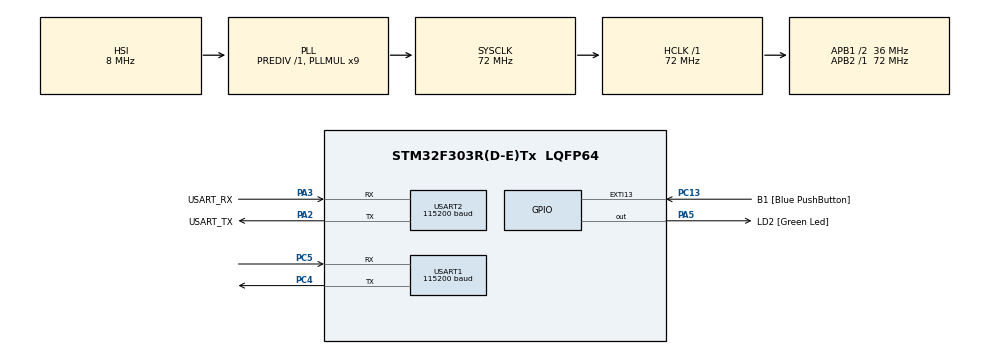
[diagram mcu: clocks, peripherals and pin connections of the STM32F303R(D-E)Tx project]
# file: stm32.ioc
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Mcu.Family=STM32F3
Mcu.Name=STM32F303R(D-E)Tx
Mcu.Package=LQFP64
NVIC.PriorityGroup=NVIC_PRIORITYGROUP_0
PA13.GPIO_Label=TMS
PA13.Mode=Serial_Wire
PA13.Signal=SYS_JTMS-SWDIO
PA14.GPIO_Label=TCK
PA14.Mode=Serial_Wire
PA14.Signal=SYS_JTCK-SWCLK
PA2.GPIO_Label=USART_TX
PA2.GPIO_Mode=GPIO_MODE_AF_PP
PA2.GPIO_PuPd=GPIO_NOPULL
PA2.GPIO_Speed=GPIO_SPEED_FREQ_LOW
PA2.Mode=Asynchronous
PA2.Signal=USART2_TX
PA3.GPIO_Label=USART_RX
PA3.GPIO_Mode=GPIO_MODE_AF_PP
PA3.GPIO_PuPd=GPIO_NOPULL
PA3.GPIO_Speed=GPIO_SPEED_FREQ_LOW
PA3.Mode=Asynchronous
PA3.Signal=USART2_RX
PA5.GPIO_Label=LD2 [Green Led]
PA5.GPIO_Mode=GPIO_MODE_OUTPUT_PP
PA5.GPIO_PuPd=GPIO_NOPULL
PA5.GPIO_Speed=GPIO_SPEED_FREQ_LOW
PA5.Signal=GPIO_Output
PB3.GPIO_Label=SWO
PB3.Signal=SYS_JTDO-TRACESWO
PC13.GPIO_Label=B1 [Blue PushButton]
PC13.GPIO_ModeDefaultEXTI=GPIO_MODE_IT_FALLING
PC13.Signal=GPXTI13
PC14-OSC32_IN.Mode=LSE-External-Oscillator
PC14-OSC32_IN.Signal=RCC_OSC32_IN
PC15-OSC32_OUT.Mode=LSE-External-Oscillator
PC15-OSC32_OUT.Signal=RCC_OSC32_OUT
PC4.Mode=Asynchronous
PC4.Signal=USART1_TX
PC5.Mode=Asynchronous
PC5.Signal=USART1_RX
PF0-OSC_IN.Mode=HSE-External-Clock-Source
PF0-OSC_IN.Signal=RCC_OSC_IN
PF1-OSC_OUT.Signal=RCC_OSC_OUT
ProjectManager.HeapSize=0x200
ProjectManager.StackSize=0x400
ProjectManager.TargetToolchain=EWARM
RCC.AHBFreq_Value=72000000
RCC.APB1CLKDivider=RCC_HCLK_DIV2
RCC.APB1Freq_Value=36000000
RCC.APB1TimFreq_Value=72000000
RCC.APB2Freq_Value=72000000
RCC.APB2TimFreq_Value=72000000
RCC.CortexFreq_Value=72000000
RCC.HCLKFreq_Value=72000000
RCC.HSE_VALUE=8000000
RCC.HSI_VALUE=8000000
RCC.PLLM=8
RCC.PLLMUL=RCC_PLL_MUL9
RCC.PLLN=336
RCC.PLLP=RCC_PLLP_DIV4
RCC.PLLQ=7
RCC.RCC_PLLsource_Clock_Source_FROM_HSE=RCC_HSE_PREDIV_DIV2
RCC.SYSCLKFreq_VALUE=72000000
RCC.SYSCLKSourceVirtual=RCC_SYSCLKSOURCE_PLLCLK
RCC.USBFreq_Value=72000000
USART1.BaudRate=115200
USART1.VirtualMode-Asynchronous=VM_ASYNC
USART2.BaudRate=115200
USART2.VirtualMode-Asynchronous=VM_ASYNC
board=NUCLEO-F303RE

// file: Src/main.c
/**
  ******************************************************************************
  * @file           : main.c
  * @brief          : Main program body
  ******************************************************************************
  ** This notice applies to any and all portions of this file
  * that are not between comment pairs USER CODE BEGIN and
  * USER CODE END. Other portions of this file, whether
  * inserted by the user or by software development tools
  * are owned by their respective copyright owners.
  *
  * COPYRIGHT(c) 2018 STMicroelectronics
  *
  * Redistribution and use in source and binary forms, with or without modification,
  * are permitted provided that the following conditions are met:
  *   1. Redistributions of source code must retain the above copyright notice,
  *      this list of conditions and the following disclaimer.
  *   2. Redistributions in binary form must reproduce the above copyright notice,
  *      this list of conditions and the following disclaimer in the documentation
  *      and/or other materials provided with the distribution.
  *   3. Neither the name of STMicroelectronics nor the names of its contributors
  *      may be used to endorse or promote products derived from this software
  *      without specific prior written permission.
  *
  * THIS SOFTWARE IS PROVIDED BY THE COPYRIGHT HOLDERS AND CONTRIBUTORS "AS IS"
  * AND ANY EXPRESS OR IMPLIED WARRANTIES, INCLUDING, BUT NOT LIMITED TO, THE
  * IMPLIED WARRANTIES OF MERCHANTABILITY AND FITNESS FOR A PARTICULAR PURPOSE ARE
  * DISCLAIMED. IN NO EVENT SHALL THE COPYRIGHT HOLDER OR CONTRIBUTORS BE LIABLE
  * FOR ANY DIRECT, INDIRECT, INCIDENTAL, SPECIAL, EXEMPLARY, OR CONSEQUENTIAL
  * DAMAGES (INCLUDING, BUT NOT LIMITED TO, PROCUREMENT OF SUBSTITUTE GOODS OR
  * SERVICES; LOSS OF USE, DATA, OR PROFITS; OR BUSINESS INTERRUPTION) HOWEVER
  * CAUSED AND ON ANY THEORY OF LIABILITY, WHETHER IN CONTRACT, STRICT LIABILITY,
  * OR TORT (INCLUDING NEGLIGENCE OR OTHERWISE) ARISING IN ANY WAY OUT OF THE USE
  * OF THIS SOFTWARE, EVEN IF ADVISED OF THE POSSIBILITY OF SUCH DAMAGE.
  *
  ******************************************************************************
  */
#include "main.h"
#include "stm32f3xx_hal.h"
#include "usart.h"
#include "gpio.h"

/* USER CODE BEGIN PV */
/* Private variables ---------------------------------------------------------*/

/* USER CODE END PV */

void SystemClock_Config(void);

/* USER CODE BEGIN PFP */
/* Private function prototypes -----------------------------------------------*/

/* USER CODE END PFP */

int main(void)
{

  /* MCU Configuration----------------------------------------------------------*/

  /* Reset of all peripherals, Initializes the Flash interface and the Systick. */
  HAL_Init();

  /* Configure the system clock */
  SystemClock_Config();

  /* Initialize all configured peripherals */
  MX_GPIO_Init();
  MX_USART2_UART_Init();
  MX_USART1_UART_Init();

  /* Infinite loop */
  /* USER CODE BEGIN WHILE */
#pragma clang diagnostic push
#pragma clang diagnostic ignored "-Wmissing-noreturn"
  while (1)
  {
    uint8_t error_message[] = "Failed to read!\r\n";
    uint8_t data[256];
    HAL_StatusTypeDef result = HAL_UART_Receive(&huart1, data, 1, 1000);
    switch(result) {
      case HAL_OK:
        HAL_UART_Transmit(&huart2, data, 1, 1000);
        break;
      default:
        HAL_UART_Transmit(&huart2, error_message, sizeof error_message, 1000);
        break;
    }

    data[0] = 'A';
    HAL_UART_Transmit(&huart1, data, 1, 1000);

  /* USER CODE END WHILE */

  /* USER CODE BEGIN 3 */

  }
#pragma clang diagnostic pop
  /* USER CODE END 3 */

}

void SystemClock_Config(void)
{

  RCC_OscInitTypeDef RCC_OscInitStruct;
  RCC_ClkInitTypeDef RCC_ClkInitStruct;
  RCC_PeriphCLKInitTypeDef PeriphClkInit;

    /**Initializes the CPU, AHB and APB busses clocks
    */
  RCC_OscInitStruct.OscillatorType = RCC_OSCILLATORTYPE_HSI;
  RCC_OscInitStruct.HSIState = RCC_HSI_ON;
  RCC_OscInitStruct.HSICalibrationValue = 16;
  RCC_OscInitStruct.PLL.PLLState = RCC_PLL_ON;
  RCC_OscInitStruct.PLL.PLLSource = RCC_PLLSOURCE_HSI;
  RCC_OscInitStruct.PLL.PLLMUL = RCC_PLL_MUL9;
  RCC_OscInitStruct.PLL.PREDIV = RCC_PREDIV_DIV1;
  if (HAL_RCC_OscConfig(&RCC_OscInitStruct) != HAL_OK)
  {
    _Error_Handler(__FILE__, __LINE__);
  }

    /**Initializes the CPU, AHB and APB busses clocks
    */
  RCC_ClkInitStruct.ClockType = RCC_CLOCKTYPE_HCLK|RCC_CLOCKTYPE_SYSCLK
                              |RCC_CLOCKTYPE_PCLK1|RCC_CLOCKTYPE_PCLK2;
  RCC_ClkInitStruct.SYSCLKSource = RCC_SYSCLKSOURCE_PLLCLK;
  RCC_ClkInitStruct.AHBCLKDivider = RCC_SYSCLK_DIV1;
  RCC_ClkInitStruct.APB1CLKDivider = RCC_HCLK_DIV2;
  RCC_ClkInitStruct.APB2CLKDivider = RCC_HCLK_DIV1;

  if (HAL_RCC_ClockConfig(&RCC_ClkInitStruct, FLASH_LATENCY_2) != HAL_OK)
  {
    _Error_Handler(__FILE__, __LINE__);
  }

  PeriphClkInit.PeriphClockSelection = RCC_PERIPHCLK_USART1|RCC_PERIPHCLK_USART2;
  PeriphClkInit.Usart1ClockSelection = RCC_USART1CLKSOURCE_PCLK2;
  PeriphClkInit.Usart2ClockSelection = RCC_USART2CLKSOURCE_PCLK1;
  if (HAL_RCCEx_PeriphCLKConfig(&PeriphClkInit) != HAL_OK)
  {
    _Error_Handler(__FILE__, __LINE__);
  }

    /**Configure the Systick interrupt time
    */
  HAL_SYSTICK_Config(HAL_RCC_GetHCLKFreq()/1000);

    /**Configure the Systick
    */
  HAL_SYSTICK_CLKSourceConfig(SYSTICK_CLKSOURCE_HCLK);

  /* SysTick_IRQn interrupt configuration */
  HAL_NVIC_SetPriority(SysTick_IRQn, 0, 0);
}

void _Error_Handler(char *file, int line)
{
  while(1)
  {
  }
}

/************************ (C) COPYRIGHT STMicroelectronics *****END OF FILE****/
